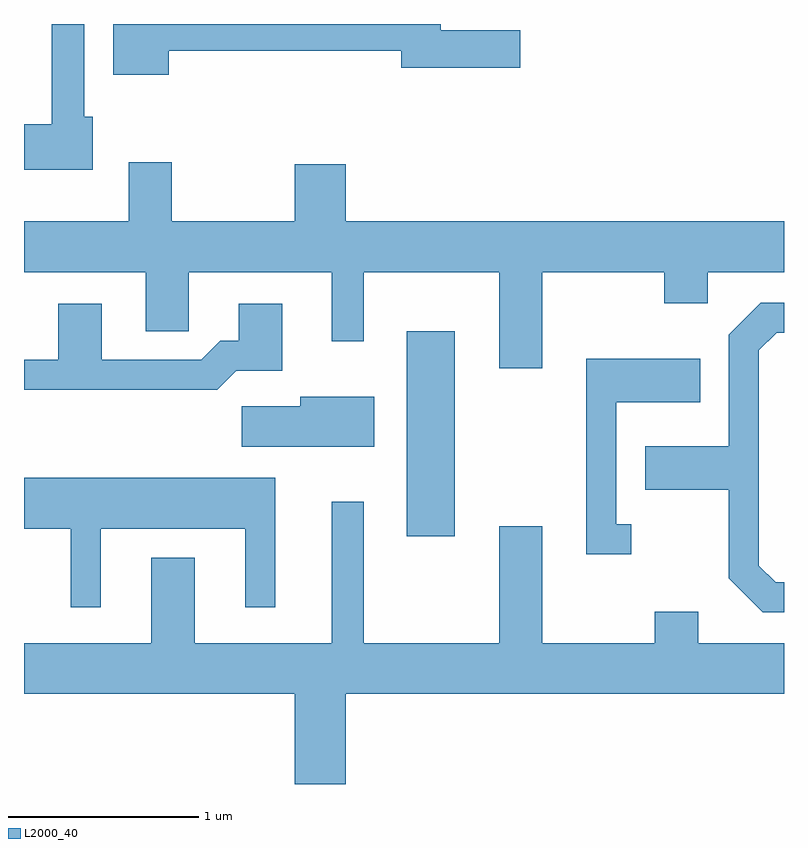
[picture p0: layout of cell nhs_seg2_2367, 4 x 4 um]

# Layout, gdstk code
import gdstk
lib = gdstk.Library(unit=1e-6, precision=1e-09)
def R(c, l, rs):  # rectangles x0, y0, x1, y1
    for r in rs: c.add(gdstk.rectangle(r[:2], r[2:], *l))
def P(c, l, *ps):  # polygons
    for p in ps: c.add(gdstk.Polygon(p, *l))
L2000_40 = (2000, 40)

nhs_seg2_2367 = lib.new_cell('nhs_seg2_2367')
R(nhs_seg2_2367, L2000_40, [(255.626,1089.106,255.879,1090.184)])
P(nhs_seg2_2367, L2000_40, [(253.974,1091.314),(253.929,1091.314),(253.929,1091.802),(253.756,1091.802),(253.756,1091.274),(253.611,1091.274),(253.611,1091.036),(253.974,1091.036)],
  [(254.374,1091.661),(255.596,1091.661),(255.596,1091.571),(256.224,1091.571),(256.224,1091.769),(255.804,1091.769),(255.804,1091.802),(254.081,1091.802),(254.081,1091.536),(254.374,1091.536)],
  [(256.339,1090.496),(256.981,1090.496),(256.981,1090.331),(257.209,1090.331),(257.209,1090.496),(257.611,1090.496),(257.611,1090.764),(255.304,1090.764),(255.304,1091.064),(255.036,1091.064),(255.036,1090.764),(254.389,1090.764),(254.389,1091.074),(254.161,1091.074),(254.161,1090.764),(253.611,1090.764),(253.611,1090.496),(254.251,1090.496),(254.251,1090.186),(254.479,1090.186),(254.479,1090.496),(255.231,1090.496),(255.231,1090.133),(255.399,1090.133),(255.399,1090.496),(256.111,1090.496),(256.111,1089.991),(256.339,1089.991)],
  [(257.611,1088.864),(257.567,1088.864),(257.479,1088.952),(257.479,1090.084),(257.572,1090.176),(257.611,1090.176),(257.611,1090.334),(257.489,1090.334),(257.321,1090.167),(257.321,1089.579),(256.881,1089.579),(256.881,1089.351),(257.321,1089.351),(257.321,1088.884),(257.498,1088.706),(257.611,1088.706)],
  [(254.727,1089.976),(254.969,1089.976),(254.969,1090.329),(254.741,1090.329),(254.741,1090.134),(254.644,1090.134),(254.544,1090.034),(254.019,1090.034),(254.019,1090.329),(253.791,1090.329),(253.791,1090.034),(253.611,1090.034),(253.611,1089.876),(254.627,1089.876)],
  [(256.808,1089.169),(256.729,1089.169),(256.729,1089.811),(257.169,1089.811),(257.169,1090.039),(256.571,1090.039),(256.571,1089.011),(256.808,1089.011)],
  [(255.454,1089.839),(255.066,1089.839),(255.066,1089.789),(254.756,1089.789),(254.756,1089.576),(255.454,1089.576)],
  [(254.014,1089.146),(254.776,1089.146),(254.776,1088.733),(254.934,1088.733),(254.934,1089.414),(253.611,1089.414),(253.611,1089.146),(253.856,1089.146),(253.856,1088.733),(254.014,1088.733)],
  [(255.304,1088.276),(257.611,1088.276),(257.611,1088.544),(257.159,1088.544),(257.159,1088.709),(256.931,1088.709),(256.931,1088.544),(256.339,1088.544),(256.339,1089.159),(256.111,1089.159),(256.111,1088.544),(255.399,1088.544),(255.399,1089.288),(255.231,1089.288),(255.231,1088.544),(254.509,1088.544),(254.509,1088.994),(254.281,1088.994),(254.281,1088.544),(253.611,1088.544),(253.611,1088.276),(255.036,1088.276),(255.036,1087.802),(255.304,1087.802)])

lib.write_gds('nhs_seg2_2367.gds')
